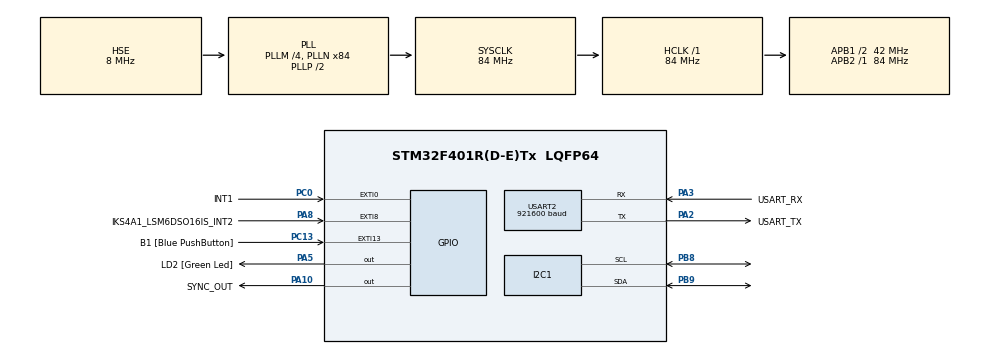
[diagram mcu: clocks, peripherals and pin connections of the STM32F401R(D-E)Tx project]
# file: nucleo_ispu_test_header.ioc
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I2C1.I2C_Mode=I2C_Fast
Mcu.Family=STM32F4
Mcu.Name=STM32F401R(D-E)Tx
Mcu.Package=LQFP64
NVIC.EXTI0_IRQn=true\:3\:0\:true\:false\:true\:true\:true\:true
NVIC.EXTI15_10_IRQn=true\:2\:0\:true\:false\:true\:true\:true\:true
NVIC.EXTI9_5_IRQn=true\:0\:0\:false\:false\:true\:true\:true\:true
NVIC.PriorityGroup=NVIC_PRIORITYGROUP_4
NVIC.USART2_IRQn=true\:1\:0\:true\:false\:true\:true\:true\:true
PA10.GPIO_Label=SYNC_OUT
PA10.Signal=GPIO_Output
PA13.GPIO_Label=TMS
PA13.Mode=Serial_Wire
PA13.Signal=SYS_JTMS-SWDIO
PA14.GPIO_Label=TCK
PA14.Mode=Serial_Wire
PA14.Signal=SYS_JTCK-SWCLK
PA2.GPIO_Label=USART_TX
PA2.GPIO_Mode=GPIO_MODE_AF_PP
PA2.GPIO_PuPd=GPIO_NOPULL
PA2.GPIO_Speed=GPIO_SPEED_FREQ_LOW
PA2.Mode=Asynchronous
PA2.Signal=USART2_TX
PA3.GPIO_Label=USART_RX
PA3.GPIO_Mode=GPIO_MODE_AF_PP
PA3.GPIO_PuPd=GPIO_NOPULL
PA3.GPIO_Speed=GPIO_SPEED_FREQ_LOW
PA3.Mode=Asynchronous
PA3.Signal=USART2_RX
PA5.GPIO_Label=LD2 [Green Led]
PA5.GPIO_Mode=GPIO_MODE_OUTPUT_PP
PA5.GPIO_PuPd=GPIO_NOPULL
PA5.GPIO_Speed=GPIO_SPEED_FREQ_LOW
PA5.Signal=GPIO_Output
PA8.GPIO_Label=IKS4A1_LSM6DSO16IS_INT2
PA8.GPIO_ModeDefaultEXTI=GPIO_MODE_IT_RISING_FALLING
PA8.Signal=GPXTI8
PB3.GPIO_Label=SWO
PB3.Signal=SYS_JTDO-SWO
PB8.GPIO_Pu=GPIO_PULLUP
PB8.Mode=I2C
PB8.Signal=I2C1_SCL
PB9.GPIO_Pu=GPIO_PULLUP
PB9.Mode=I2C
PB9.Signal=I2C1_SDA
PC0.GPIO_Label=INT1
PC0.Signal=GPXTI0
PC13-ANTI_TAMP.GPIO_Label=B1 [Blue PushButton]
PC13-ANTI_TAMP.GPIO_ModeDefaultEXTI=GPIO_MODE_IT_FALLING
PC13-ANTI_TAMP.GPIO_PuPd=GPIO_NOPULL
PC13-ANTI_TAMP.Signal=GPXTI13
PC14-OSC32_IN.Mode=LSE-External-Oscillator
PC14-OSC32_IN.Signal=RCC_OSC32_IN
PC15-OSC32_OUT.Mode=LSE-External-Oscillator
PC15-OSC32_OUT.Signal=RCC_OSC32_OUT
PH0\ -\ OSC_IN.Mode=HSE-External-Clock-Source
PH0\ -\ OSC_IN.Signal=RCC_OSC_IN
PH1\ -\ OSC_OUT.Mode=HSE-External-Clock-Source
PH1\ -\ OSC_OUT.Signal=RCC_OSC_OUT
ProjectManager.HeapSize=0x8000
ProjectManager.StackSize=0x8000
ProjectManager.TargetToolchain=STM32CubeIDE
RCC.48MHZClocksFreq_Value=24000000
RCC.AHBFreq_Value=84000000
RCC.APB1CLKDivider=RCC_HCLK_DIV2
RCC.APB1Freq_Value=42000000
RCC.APB1TimFreq_Value=84000000
RCC.APB2Freq_Value=84000000
RCC.APB2TimFreq_Value=84000000
RCC.CortexFreq_Value=84000000
RCC.HCLKFreq_Value=84000000
RCC.HSE_VALUE=8000000
RCC.HSI_VALUE=16000000
RCC.PLLM=4
RCC.PLLN=84
RCC.PLLQ=7
RCC.PLLSourceVirtual=RCC_PLLSOURCE_HSE
RCC.SYSCLKFreq_VALUE=84000000
RCC.SYSCLKSource=RCC_SYSCLKSOURCE_PLLCLK
RCC.VCOOutputFreq_Value=168000000
TIM2.Prescaler=83
TIM5.Prescaler=83
USART2.BaudRate=921600
USART2.VirtualMode=VM_ASYNC
VP_TIM2_VS_ClockSourceINT.Mode=Internal
VP_TIM5_VS_ClockSourceINT.Mode=Internal
board=NUCLEO-F401RE

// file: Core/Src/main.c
/* USER CODE BEGIN Header */
/**
  ******************************************************************************
  * @file           : main.c
  * @brief          : Main program body
  ******************************************************************************
  * @attention
  *
  * Copyright (c) 2025 STMicroelectronics.
  * All rights reserved.
  *
  * This software is licensed under terms that can be found in the LICENSE file
  * in the root directory of this software component.
  * If no LICENSE file comes with this software, it is provided AS-IS.
  *
  ******************************************************************************
  */
/* USER CODE END Header */
#include "main.h"
#include "i2c.h"
#include "tim.h"
#include "usart.h"
#include "gpio.h"

/* USER CODE BEGIN Includes */
#include "application.h"
#include "norm.h"

/* USER CODE END Includes */

void SystemClock_Config(void);

int main(void)
{

  /* MCU Configuration--------------------------------------------------------*/

  /* Reset of all peripherals, Initializes the Flash interface and the Systick. */
  HAL_Init();

  /* Configure the system clock */
  SystemClock_Config();

  /* Initialize all configured peripherals */
  MX_GPIO_Init();
  MX_I2C1_Init();
  MX_USART2_UART_Init();
  MX_TIM5_Init();
  MX_TIM2_Init();
  /* USER CODE BEGIN 2 */
  HAL_TIM_Base_Start(&htim2);  // avvia timer microsecondi

  uint32_t ultimo_sync = 0;
  uint32_t sync_count  = 0;
  /* USER CODE END 2 */

  /* Infinite loop */
  /* USER CODE BEGIN WHILE */
  while (1)
  {
    application();
    /* USER CODE END WHILE */

    /* USER CODE BEGIN 3 */
    /* USER CODE BEGIN 3 */
    if (HAL_GetTick() - ultimo_sync >= 1000) {
        uint32_t t_us = __HAL_TIM_GET_COUNTER(&htim2);  // ← era htim5

        HAL_GPIO_WritePin(GPIOA, GPIO_PIN_10, GPIO_PIN_SET);
        HAL_Delay(1);
        HAL_GPIO_WritePin(GPIOA, GPIO_PIN_10, GPIO_PIN_RESET);

        char msg[64];
        sprintf(msg, "S,%lu,%lu\r\n", sync_count, t_us);
        HAL_UART_Transmit(&huart2, (uint8_t*)msg, strlen(msg), 100);

        sync_count++;
        ultimo_sync = HAL_GetTick();
    }
    /* USER CODE END 3 */
  }
  /* USER CODE END 3 */
}

void SystemClock_Config(void)
{
  RCC_OscInitTypeDef RCC_OscInitStruct = {0};
  RCC_ClkInitTypeDef RCC_ClkInitStruct = {0};

  /** Configure the main internal regulator output voltage
  */
  __HAL_RCC_PWR_CLK_ENABLE();
  __HAL_PWR_VOLTAGESCALING_CONFIG(PWR_REGULATOR_VOLTAGE_SCALE2);

  /** Initializes the RCC Oscillators according to the specified parameters
  * in the RCC_OscInitTypeDef structure.
  */
  RCC_OscInitStruct.OscillatorType = RCC_OSCILLATORTYPE_HSE;
  RCC_OscInitStruct.HSEState = RCC_HSE_BYPASS;
  RCC_OscInitStruct.PLL.PLLState = RCC_PLL_ON;
  RCC_OscInitStruct.PLL.PLLSource = RCC_PLLSOURCE_HSE;
  RCC_OscInitStruct.PLL.PLLM = 4;
  RCC_OscInitStruct.PLL.PLLN = 84;
  RCC_OscInitStruct.PLL.PLLP = RCC_PLLP_DIV2;
  RCC_OscInitStruct.PLL.PLLQ = 7;
  if (HAL_RCC_OscConfig(&RCC_OscInitStruct) != HAL_OK)
  {
    Error_Handler();
  }

  /** Initializes the CPU, AHB and APB buses clocks
  */
  RCC_ClkInitStruct.ClockType = RCC_CLOCKTYPE_HCLK|RCC_CLOCKTYPE_SYSCLK
                              |RCC_CLOCKTYPE_PCLK1|RCC_CLOCKTYPE_PCLK2;
  RCC_ClkInitStruct.SYSCLKSource = RCC_SYSCLKSOURCE_PLLCLK;
  RCC_ClkInitStruct.AHBCLKDivider = RCC_SYSCLK_DIV1;
  RCC_ClkInitStruct.APB1CLKDivider = RCC_HCLK_DIV2;
  RCC_ClkInitStruct.APB2CLKDivider = RCC_HCLK_DIV1;

  if (HAL_RCC_ClockConfig(&RCC_ClkInitStruct, FLASH_LATENCY_2) != HAL_OK)
  {
    Error_Handler();
  }
}

void Error_Handler(void)
{
  __disable_irq();
  while (1)
  {
  }
}
